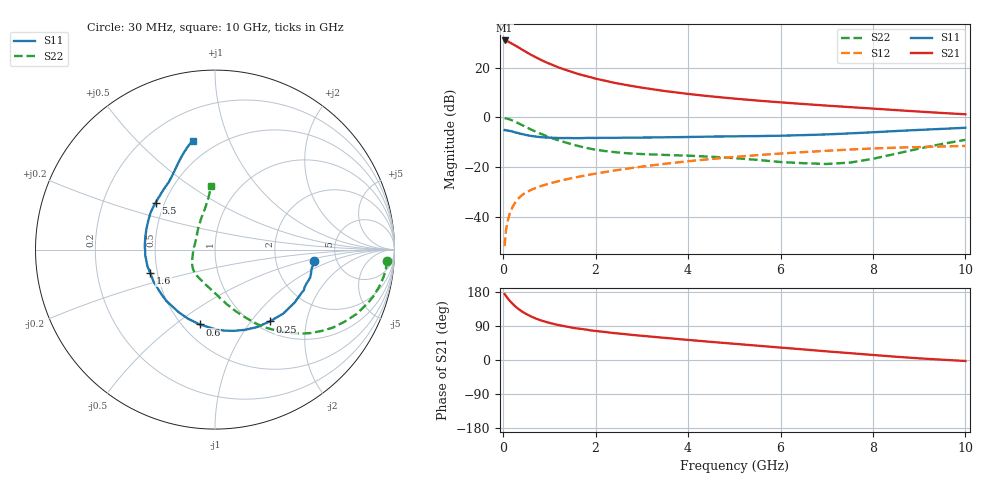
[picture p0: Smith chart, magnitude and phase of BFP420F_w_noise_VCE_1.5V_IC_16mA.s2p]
! Infineon Technologies  Discrete & RF Semiconductors
! BFP420F
! VCE =  1.5 V,  IC =  16 mA
! Common Emitter S-Parameters:  Sep 2011
# GHz  S  MA  R  50
!  f  S11  S21  S12  S22
! GHz  MAG  ANG  MAG  ANG  MAG  ANG  MAG  ANG
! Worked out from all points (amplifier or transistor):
!   54 points, 30 MHz to 10 GHz, reference 50 ohm
!   highest |S21| = 30.9 dB at 30 MHz (marker M1)
!   |S21| within 3 dB of that: start of sweep to 349.1 MHz
!   unconditionally stable (mu >= 1): 1.736 GHz to end of sweep
!   at 120 MHz: K = 0.22, MSG = 35.2 dB, |S12| = -40.0 dB
!   at 1.3 GHz: K = 0.87, MSG = 22.3 dB, |S12| = -25.1 dB
!   at 10 GHz: K = 1.24, MAG = 3.4 dB, |S12| = -11.4 dB
!   lowest NFmin = 1.40 dB at 450 MHz
!   S11 on the Smith chart (normalised r, x): 30 MHz: 3.39, -0.63; 250 MHz: 1.16, -1.25; 600 MHz: 0.61, -0.62; 1.6 GHz: 0.46, -0.14; 5.5 GHz: 0.45, +0.28; 10 GHz: 0.38, +0.74
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0.03  0.5576 -6.6  35.1 174.1  0.0026 88.2  0.961 -3.7
0.05  0.5489 -10.7  34.55 170.3  0.0043 89.1  0.9581 -6.4
0.07  0.5529 -16.3  34.39 167.5  0.0061 84.6  0.9514 -9.2
0.12  0.5382 -27.1  32.88 159.2  0.01 79.9  0.9244 -15.5
0.15  0.5334 -33.2  31.68 155.0  0.0123 77.5  0.9043 -19.0
0.2  0.5212 -43.2  29.92 148.7  0.0158 74.4  0.867 -24.4
0.25  0.5036 -52.6  28.08 142.7  0.0189 71.5  0.8253 -29.2
0.3  0.4909 -61.6  26.5 137.5  0.0221 68.9  0.7865 -33.6
0.4  0.4646 -77.0  23.23 128.5  0.0271 64.7  0.7075 -41.1
0.5  0.4432 -90.0  20.48 121.2  0.0314 62.1  0.636 -47.1
0.6  0.4255 -101.6  18.12 114.9  0.035 60.1  0.5729 -52.3
0.8  0.4038 -119.7  14.56 105.1  0.0414 58.0  0.4752 -60.6
1  0.394 -133.3  11.99 98.0  0.0471 57.3  0.4014 -67.2
1.2  0.3861 -144.2  10.06 92.1  0.0526 56.9  0.3464 -73.3
1.6  0.3837 -159.8  7.549 83.3  0.0635 56.6  0.2707 -84.3
1.7  0.3846 -162.7  7.119 81.8  0.0662 56.6  0.2559 -86.8
2.4  0.389 -179.1  4.965 71.0  0.0857 55.5  0.2015 -105.0
3.5  0.3988 163.6  3.385 58.4  0.1173 52.1  0.1766 -125.3
5.5  0.422 141.6  2.18 37.8  0.1747 41.2  0.1404 -155.4
7  0.456 124.3  1.726 22.8  0.2139 31.6  0.1162 163.2
8.5  0.5329 111.9  1.402 8.6  0.247 20.8  0.1871 114.8
10  0.6198 101.6  1.156 -2.6  0.2678 11.8  0.3544 93.5
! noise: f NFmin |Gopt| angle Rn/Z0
0.45  1.4  0.11  177  0.19
0.9  1.41  0.12  171  0.13
1.9  1.53  0.22  -175  0.14
2.4  1.59  0.22  -173  0.12
3.5  1.84  0.26  -161  0.16
